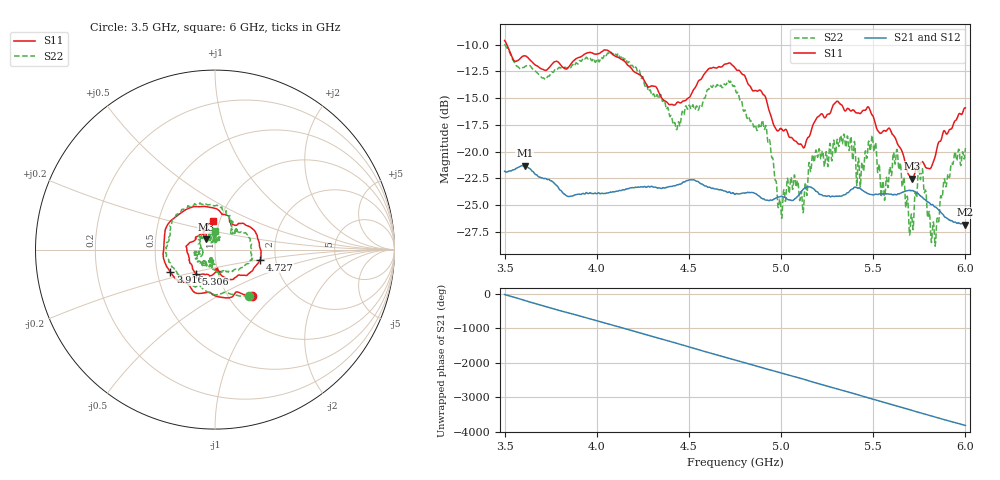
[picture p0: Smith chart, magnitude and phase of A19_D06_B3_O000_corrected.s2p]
! Created with skrf 1.9.0 (http://scikit-rf.org).
# Hz S RI R 50.0
!freq ReS11 ImS11 ReS21 ImS21 ReS12 ImS12 ReS22 ImS22
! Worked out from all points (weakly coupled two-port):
!   1601 points, 3.5 GHz to 6 GHz, reference 50 ohm
!   highest |S21| = -21.30 dB at 3.609 GHz (marker M1); lowest = -26.8 dB at 5.997 GHz (marker M2)
!   lowest |S11| = -22.5 dB at 5.713 GHz (marker M3), VSWR 1.16, Z = 45.1 + j5.15 ohm
!   |S11| at or under -10 dB: 3.512 GHz to end of sweep
!   |S22| runs from -28.8 to -9.9 dB; largest |S21 - S12| = 0.00097
!   S11 on the Smith chart (normalised r, x): 3.5 GHz: 1.28, -0.74; 3.916 GHz: 0.59, -0.16; 4.727 GHz: 1.66, -0.20; 5.306 GHz: 0.78, -0.22; 6 GHz: 0.93, +0.30
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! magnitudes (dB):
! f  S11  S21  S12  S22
! 3.5 GHz  -9.6  -21.8  -21.8  -9.9
! 3.609 GHz  -11.0  -21.3  -21.3  -12.1
! 3.916 GHz  -11.1  -24.0  -23.9  -11.6
! 3.917 GHz  -11.1  -24.0  -23.9  -11.5
! 4.334 GHz  -14.4  -23.4  -23.3  -15.0
! 4.441 GHz  -15.4  -23.1  -23.0  -17.4
! 4.727 GHz  -11.8  -23.9  -23.7  -13.4
! 4.75 GHz  -12.2  -24.0  -23.9  -14.0
! 4.911 GHz  -14.8  -24.5  -24.4  -17.9
! 4.994 GHz  -17.9  -24.2  -24.1  -24.4
! 5.112 GHz  -19.4  -23.7  -23.6  -24.0
! 5.167 GHz  -17.8  -23.4  -23.3  -20.7
! 5.306 GHz  -15.3  -24.2  -24.1  -18.9
! 5.42 GHz  -16.4  -23.4  -23.4  -20.6
! 5.502 GHz  -16.8  -24.0  -24.0  -19.7
! 5.584 GHz  -17.8  -24.0  -23.9  -22.6
! 5.636 GHz  -19.4  -23.9  -23.9  -21.2
! 5.713 GHz  -22.5  -23.6  -23.6  -26.7
! 5.756 GHz  -21.1  -24.1  -24.1  -22.6
! 5.828 GHz  -20.8  -25.1  -25.0  -26.8
! 5.997 GHz  -15.9  -26.8  -26.7  -20.3
! 6 GHz  -15.9  -26.8  -26.7  -19.7
